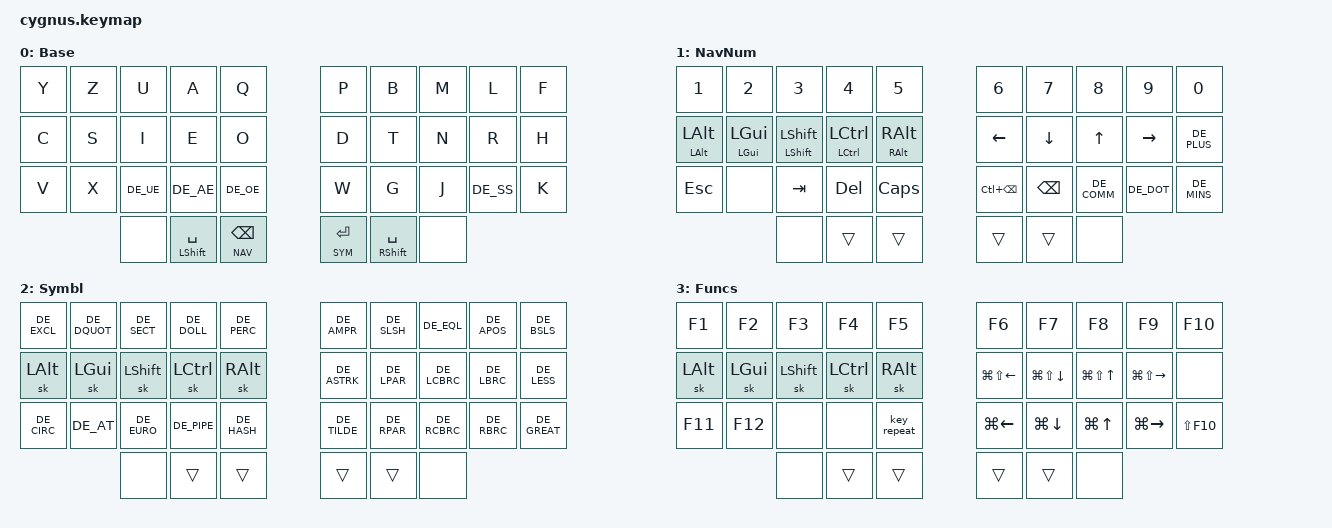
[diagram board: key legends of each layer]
/*
 * Copyright (c) 2020 duckyb
 *
 * SPDX-License-Identifier: MIT
 */

#include <behaviors.dtsi>
#include <dt-bindings/zmk/keys.h>
#include <dt-bindings/zmk/bt.h>
#include <dt-bindings/zmk/outputs.h>
#include "keymap_german.h"

// Layer definitions
#define BASE 0
#define NAV 1
#define SYM 2
#define FNC 3
// -----------------
/ {
	behaviors {
		// Enables holding the first mod-tap key
		// by performing a tap-release-hold sequence.
		// To use it: "&qt KEYCODE1 KEYCODE2"
		qt: quick_tap {
			compatible = "zmk,behavior-hold-tap";
			#binding-cells = <2>;
			flavor = "hold-preferred";
			tapping-term-ms = <200>;
			quick-tap-ms = <200>;
			bindings = <&kp>, <&kp>;
		};
		smt: sticky_mod_tap {
            compatible = "zmk,behavior-hold-tap";
            #binding-cells = <2>;
            flavor = "tap-preferred";
            tapping-term-ms = <200>;
            bindings = <&kp>, <&sk>;
            display-name = "sticky Mod-Tap";
        };
	};

	combos {
		compatible = "zmk,combos";

		// both left thumb keys
		combo_settings {
			timeout-ms = <200>;
            key-positions = <31 32>;
			bindings = <&none>;
		};

		// inner left + outer right thumb
		combo_num {
			timeout-ms = <200>;
            key-positions = <32 34>;
			bindings = <&none>;
		};

		        // G + J → comma (,)
        combo_comma {
            timeout-ms    = <200>;
            key-positions = <26 27>;   // G=26, J=27
            bindings      = <&kp DE_COMM>;
        };

        // J + ß → period (.)
        combo_dot {
            timeout-ms    = <200>;
            key-positions = <27 28>;   // J=27, ß=28
            bindings      = <&kp DE_DOT>;
        };

        // ß + K → minus/hyphen (-)
        combo_dash {
            timeout-ms    = <200>;
            key-positions = <28 29>;   // ß=28, K=29
            bindings      = <&kp DE_MINS>;
        };

		// T + N → semicolon (;)
        combo_semicolon {
            timeout-ms    = <100>;
            key-positions = <16 17>;   // T=16, N=17
            bindings      = <&kp DE_SCLN>;
        };

        // N + R → colon (:)
        combo_colon {
            timeout-ms    = <200>;
            key-positions = <17 18>;   // N=17, R=18
            bindings      = <&kp DE_COLN>;
        };

        // R + H → underscore (_)
        combo_underscore {
            timeout-ms    = <200>;
            key-positions = <18 19>;   // R=18, H=19
            bindings      = <&kp DE_UNDSC>;
        };

	};

    conditional_layers {
        compatible = "zmk,conditional-layers";
        num_sym_to_fnc {
            if-layers = <NAV SYM>;
            then-layer = <FNC>;
        };
    };


	keymap {
		compatible = "zmk,keymap";
		// Noted Base Layer
        // ┌───┬───┬───┬───┬───┐       ┌───┬───┬───┬───┬───┐
        // │ Y │ Z │ U │ A │ Q │       │ P │ B │ M │ L │ F │
        // ├───┼───┼───┼───┼───┤       ├───┼───┼───┼───┼───┤
        // │ C │ S │ I │ E │ O │       │ D │ T │ N │ R │ H │
        // ├───┼───┼───┼───┼───┤       ├───┼───┼───┼───┼───┤
        // │ V │ X │ Ü │ Ä │ Ö │       │ W │ G │ J │ ß │ K │
        // └───┴───┴───┴───┴───┘       └───┴───┴───┴───┴───┘
        //         ┌──────┬──────┐     ┌──────┬──────┐
        //         │SFT SPC│NAV BSPC│ │SYM ENT│SFT SPC│
        //         └──────┴──────┘     └──────┴──────┘
		default_layer {
			display-name = "Base";
			bindings = <
				&kp Y   &kp Z   &kp U   &kp A   &kp Q      &kp P   &kp B   &kp M   &kp L   &kp F
				&kp C   &kp S   &kp I   &kp E   &kp O      &kp D   &kp T   &kp N   &kp R   &kp H
				&kp V   &kp X   &kp DE_UE &kp DE_AE &kp DE_OE  &kp W   &kp G   &kp J   &kp DE_SS   &kp K
                        &none &qt LSHIFT SPACE &lt NAV BSPC       &lt SYM ENTER &qt RSHIFT SPACE &none
			>;
		};
		// Nav'n'Num layer
        // ┌───┬───┬───┬───┬───┐       ┌───┬───┬───┬───┬───┐
        // │ 1 │ 2 │ 3 │ 4 │ 5 │       │ 6 │ 7 │ 8 │ 9 │ 0 │
        // ├───┼───┼───┼───┼───┤       ├───┼───┼───┼───┼───┤
        // │ALT│WIN│SFT│CTL│ALR│       │LFT│DWN│UP │RGT│ + │
        // ├───┼───┼───┼───┼───┤       ├───┼───┼───┼───┼───┤
        // │Esc│   │TAB│DEL│CAP│       │C+B│BSP│ , │ . │ - │
        // └───┴───┴───┴───┴───┘       └───┴───┴───┴───┴───┘
        //         ┌─────┬─────┐       ┌─────┬─────┐
        //         │trans│trans│       │trans│trans│
        //         └─────┴─────┘       └─────┴─────┘
		nav_layer {
			display-name = "NavNum";
			bindings = <
				&kp N1 	   &kp N2   &kp N3   &kp N4    &kp N5         &kp N6        &kp N7   &kp N8      &kp N9     &kp N0
				&smt LALT LALT  &smt LGUI LGUI &smt LSHIFT LSHIFT &smt LCTRL LCTRL &smt RALT RALT     &kp LEFT      &kp DOWN &kp UP      &kp RIGHT  &kp DE_PLUS
				&kp ESC    &none    &kp TAB    &kp DEL   &kp CAPSLOCK   &kp LC(BSPC)  &kp BSPC &kp DE_COMM &kp DE_DOT &kp DE_MINS
                                             &none &trans     &trans     	  &trans    &trans &none
			>;
		};
		// Symbols layer
        // ┌───┬───┬───┬───┬───┐       ┌───┬───┬───┬───┬───┐
        // │ ! │ " │ § │ $ │ % │       │ & │ / │ = │ ' │ \ │
        // ├───┼───┼───┼───┼───┤       ├───┼───┼───┼───┼───┤
        // |ALT│WIN│SFT│CTL│ALR│       │ * │ ( │ { │ [ │ < │
        // ├───┼───┼───┼───┼───┤       ├───┼───┼───┼───┼───┤
        // │ ^ │ @ │ € │ | │ # │       │ ~ │ ) │ } │ ] │ > |
        // └───┴───┴───┴───┴───┘       └───┴───┴───┴───┴───┘
        //         ┌─────┬─────┐       ┌─────┬─────┐
        //         │trans│trans│       │trans│trans│
        //         └─────┴─────┘       └─────┴─────┘
		sym_layer {
			display-name = "Symbl";
			bindings = <
				&kp DE_EXCL   &kp DE_DQUOT  &kp DE_SECT   &kp DE_DOLL  &kp DE_PERC         &kp DE_AMPR   &kp DE_SLSH   &kp DE_EQL    &kp DE_APOS  &kp DE_BSLS
				&sk LALT      &sk LGUI      &sk LSHIFT      &sk LCTRL    &sk RALT            &kp DE_ASTRK  &kp DE_LPAR   &kp DE_LCBRC  &kp DE_LBRC  &kp DE_LESS
				&kp DE_CIRC   &kp DE_AT     &kp DE_EURO   &kp DE_PIPE  &kp DE_HASH         &kp DE_TILDE  &kp DE_RPAR   &kp DE_RCBRC  &kp DE_RBRC  &kp DE_GREAT
                                    &none &trans   &trans                                  	   &trans          &trans &none
			>;
		};
		// Function layer
        // ┌───┬───┬───┬───┬───┐       ┌───┬───┬───┬───┬───┐
        // │F1 │F2 │F3 │F4 │F5 │       │F6 │F7 │F8 │F9 │F10│
        // ├───┼───┼───┼───┼───┤       ├───┼───┼───┼───┼───┤
        // │ALT│WIN│SFT│CTL│ALR│       │WSL│WSD│WSU│WSR│   │
        // ├───┼───┼───┼───┼───┤       ├───┼───┼───┼───┼───┤
        // │F11│F12│   │   │REP│       │WL │WD │WU │WR │SF10│
        // └───┴───┴───┴───┴───┘       └───┴───┴───┴───┴───┘
        //         ┌─────┬─────┐       ┌─────┬─────┐
        //         │trans│trans│       │trans│trans│
        //         └─────┴─────┘       └─────┴─────┘
		fun_layer {
			display-name = "Funcs";
			bindings = <
				&kp F1     &kp F2   &kp F3   &kp F4   &kp F5         &kp F6   &kp F7   &kp F8   &kp F9   &kp F10
				&sk LALT   &sk LGUI &sk LSHIFT &sk LCTRL &sk RALT    &kp LG(LS(LEFT))   &kp LG(LS(DOWN))   &kp LG(LS(UP))   &kp LG(LS(RIGHT))    &none
				&kp F11  &kp F12    &none    &none    &key_repeat    &kp LG(LEFT)  &kp LG(DOWN)  &kp LG(UP)    &kp LG(RIGHT) &kp LS(F10)
                                             &none &trans   &trans          &trans    &trans &none
			>;
		};
	};
};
